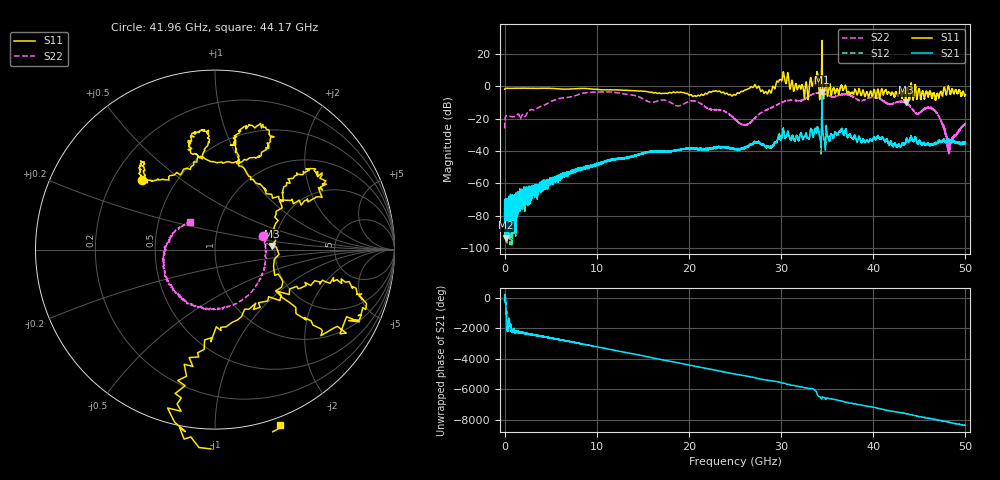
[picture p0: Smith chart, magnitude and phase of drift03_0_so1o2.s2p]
!Created with skrf (http://scikit-rf.org).
# Hz S RI R 50.0
!freq ReS11 ImS11 ReS21 ImS21 ReS12 ImS12 ReS22 ImS22
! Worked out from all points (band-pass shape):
!   10000 points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, 5.3 MHz to 50 GHz, reference 50 ohm
!   highest |S21| = -3.79 dB at 34.44 GHz (marker M1); lowest = -93.4 dB at 110.3 MHz (marker M2)
!   |S21| within 3 dB of the highest: 34.42776 GHz to 34.4374 GHz (9.638 MHz wide, 0.028 % of centre)
!   lowest |S11| = -10.0 dB at 43.53 GHz (marker M3), VSWR 1.93, Z = 96.3 + j4.28 ohm
!   |S11| at or under -10 dB: nowhere
!   |S22| runs from -41.7 to -3.6 dB; largest |S21 - S12| = 0.21
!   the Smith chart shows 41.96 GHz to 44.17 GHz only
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5299970  -0.7855 -0.00892  -8.46e-05 -9.91e-05  -0.000157 8.04e-05  -0.0479 0.014
1.102993e8  -0.8271 0.1683  -2.05e-05 6.6e-06  -0.000135 8.96e-06  0.1068 0.0426
1.525291e9  0.8515 0.0813  0.000192 -0.000255  -3.8e-05 -0.00022  -0.0305 0.1341
3.155281e9  -0.8529 -0.021  6.84e-05 0.000601  -5.79e-05 0.000597  0.00151 -0.1798
4.665272e9  0.8366 0.148  0.000524 -0.00121  0.000606 -0.000912  0.0592 0.2876
6.350262e9  -0.804 -0.0281  -0.000451 0.00192  -0.00029 0.00173  -0.2631 -0.3418
8.34025e9  0.6611 -0.5246  -0.00168 -0.00217  -0.00155 -0.00214  0.5513 -0.186
9.620242e9  -0.7923 -0.0864  0.000646 0.00349  0.000423 0.00345  -0.6376 -0.1298
1.132523e10  0.7602 0.0279  -0.00275 -0.00411  -0.00254 -0.0045  0.6254 -0.1963
1.66702e10  -0.398 0.448  0.00665 -0.00708  0.00679 -0.00704  0.3507 0.0147
2.500515e10  -0.1405 -0.5083  0.00869 0.00805  0.008 0.0079  -0.0782 0.0518
2.743014e10  0.8761 -0.0269  -0.0097 0.0154  -0.00896 0.0162  0.0491 -0.1137
2.945012e10  -0.8932 0.7328  0.00197 -0.0185  0.00533 -0.0177  0.033 0.252
3.011012e10  0.5424 1.382  -0.0302 -0.000484  -0.0294 0.00104  0.3014 0.089
3.136011e10  0.0571 -0.6838  0.0236 0.00835  0.0243 0.007  -0.0984 -0.3478
3.33351e10  -0.0537 1.186  -0.0424 0.00481  -0.0409 0.0052  0.5428 0.0173
3.443509e10  -5.913 -24.53  0.314 -0.5648  0.1305 -0.4976  -0.213 -0.5825
3.679508e10  0.7821 -0.0831  0.0277 0.0152  0.0278 0.016  0.0921 -0.5579
4.167005e10  -0.6342 0.1656  -0.0152 0.00523  -0.0156 0.00514  0.1523 0.2466
4.353004e10  0.3172 0.02  0.0159 -0.012  0.0153 -0.0116  -0.2868 -0.1051
4.822001e10  -0.8456 -0.2395  -0.00994 0.0179  -0.0108 0.019  -0.0103 0.00901
5e10  0.5072 -0.1626  -0.00088 -0.0175  -0.0013 -0.0179  0.0295 -0.0613
